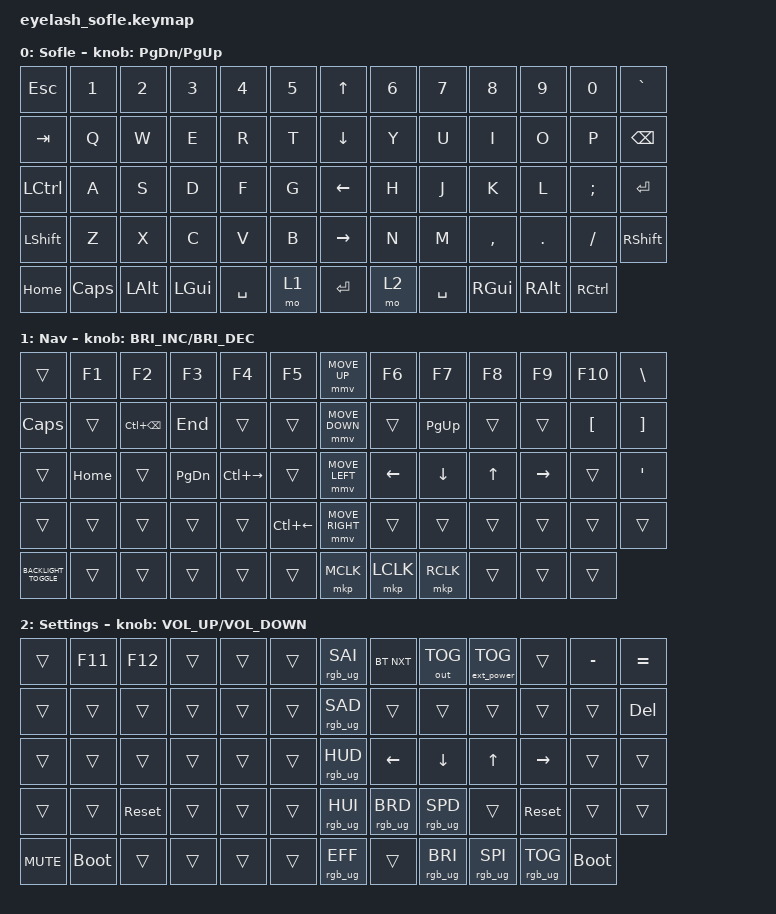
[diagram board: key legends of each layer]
#include <behaviors.dtsi>
#include <dt-bindings/zmk/bt.h>
#include <dt-bindings/zmk/ext_power.h>
#include <dt-bindings/zmk/keys.h>
#include <dt-bindings/zmk/mouse.h>
#include <dt-bindings/zmk/outputs.h>
#include <dt-bindings/zmk/rgb.h>

#include <input/processors.dtsi>

/*

   &mmv_input_listener {
       input-processors = <&zip_xy_scaler 2 1>;
   };

   &msc_input_listener {
       input-processors = <&zip_xy_scaler 2 1>;
   };

 */

#define ZMK_MOUSE_DEFAULT_MOVE_VAL 1200  // 600
#define ZMK_MOUSE_DEFAULT_SCRL_VAL 20    // 10

/ {
    behaviors {
        mmv {
            acceleration-exponent = <1>;      // 1
            time-to-max-speed-ms = <40>;    // 40
            delay-ms = <0>;                   // 0
        };

        msc {
            acceleration-exponent = <0>;      // 0
            time-to-max-speed-ms = <500>;      // 500
            delay-ms = <0>;                   //   10
        };
    };

    combos { compatible = "zmk,combos"; };

    scroll_encoder: scroll_encoder {
        compatible = "zmk,behavior-sensor-rotate";
        #sensor-binding-cells = <0>;
        bindings = <&msc SCRL_DOWN>, <&msc SCRL_UP>;

        tap-ms = <30>;
    };

    keymap {
        compatible = "zmk,keymap";

        default {
            bindings = <
&kp ESC    &kp N1    &kp N2        &kp N3        &kp N4     &kp N5    &kp UP_ARROW     &kp N6  &kp N7     &kp N8         &kp N9         &kp N0     &kp GRAVE
&kp TAB    &kp Q     &kp W         &kp E         &kp R      &kp T     &kp DOWN_ARROW   &kp Y   &kp U      &kp I          &kp O          &kp P      &kp BACKSPACE
&kp LCTRL  &kp A     &kp S         &kp D         &kp F      &kp G     &kp LEFT_ARROW   &kp H   &kp J      &kp K          &kp L          &kp SEMI   &kp RETURN
&kp LSHFT  &kp Z     &kp X         &kp C         &kp V      &kp B     &kp RIGHT_ARROW  &kp N   &kp M      &kp COMMA      &kp DOT        &kp FSLH   &kp RIGHT_SHIFT
&kp HOME   &kp CAPS  &kp LEFT_ALT  &kp LEFT_GUI  &kp SPACE  &mo 1     &kp ENTER        &mo 2   &kp SPACE  &kp RIGHT_GUI  &kp RIGHT_ALT  &kp RCTRL
            >;

            sensor-bindings = <&inc_dec_kp PAGE_DOWN PG_UP>;
            display-name = "Sofle";
        };

        nav {
            bindings = <
&trans                  &kp F1    &kp F2             &kp F3         &kp F4         &kp F5          &mmv MOVE_UP     &kp F6     &kp F7     &kp F8  &kp F9     &kp F10           &kp BSLH
&kp CAPSLOCK            &trans    &kp LC(BACKSPACE)  &kp END        &trans         &trans          &mmv MOVE_DOWN   &trans     &kp PG_UP  &trans  &trans     &kp LEFT_BRACKET  &kp RIGHT_BRACKET
&trans                  &kp HOME  &trans             &kp PAGE_DOWN  &kp LC(RIGHT)  &trans          &mmv MOVE_LEFT   &kp LEFT   &kp DOWN   &kp UP  &kp RIGHT  &trans            &kp APOS
&trans                  &trans    &trans             &trans         &trans         &kp LC(LEFT)    &mmv MOVE_RIGHT  &trans     &trans     &trans  &trans     &trans            &trans
&kp C_BACKLIGHT_TOGGLE  &trans    &trans             &trans         &trans         &trans          &mkp MCLK        &mkp LCLK  &mkp RCLK  &trans  &trans     &trans
            >;

            display-name = "Nav";
            sensor-bindings = <&inc_dec_kp C_BRIGHTNESS_INC C_BRIGHTNESS_DEC>;
        };

        settings {
            bindings = <
&trans      &kp F11      &kp F12     &trans  &trans  &trans    &rgb_ug RGB_SAI  &bt BT_NXT       &out OUT_TOG     &ext_power EP_TOG  &trans           &kp MINUS    &kp EQUAL
&trans      &trans       &trans      &trans  &trans  &trans    &rgb_ug RGB_SAD  &trans           &trans           &trans             &trans           &trans       &kp DELETE
&trans      &trans       &trans      &trans  &trans  &trans    &rgb_ug RGB_HUD  &kp LEFT         &kp DOWN         &kp UP             &kp RIGHT        &trans       &trans
&trans      &trans       &sys_reset  &trans  &trans  &trans    &rgb_ug RGB_HUI  &rgb_ug RGB_BRD  &rgb_ug RGB_SPD  &trans             &sys_reset       &trans       &trans
&kp C_MUTE  &bootloader  &trans      &trans  &trans  &trans    &rgb_ug RGB_EFF  &trans           &rgb_ug RGB_BRI  &rgb_ug RGB_SPI    &rgb_ug RGB_TOG  &bootloader
            >;

            display-name = "Settings";
            sensor-bindings = <&inc_dec_kp C_VOLUME_UP C_VOLUME_DOWN>;
        };
    };
};
